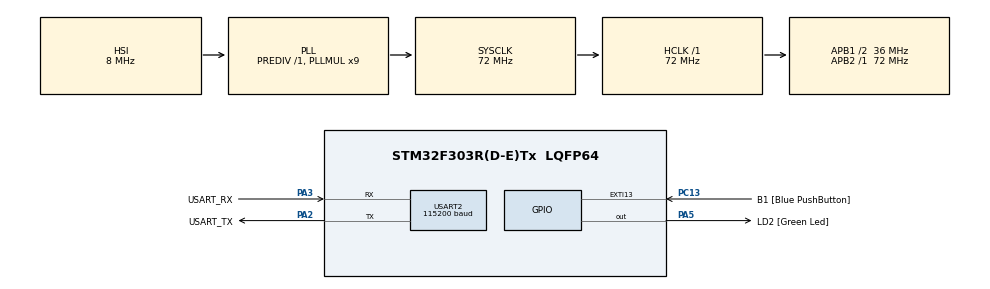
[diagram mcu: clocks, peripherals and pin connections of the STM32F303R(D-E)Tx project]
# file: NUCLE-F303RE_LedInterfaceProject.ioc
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Mcu.Family=STM32F3
Mcu.Name=STM32F303R(D-E)Tx
Mcu.Package=LQFP64
NVIC.PriorityGroup=NVIC_PRIORITYGROUP_0
PA13.GPIO_Label=TMS
PA13.Mode=Serial_Wire
PA13.Signal=SYS_JTMS-SWDIO
PA14.GPIO_Label=TCK
PA14.Mode=Serial_Wire
PA14.Signal=SYS_JTCK-SWCLK
PA2.GPIO_Label=USART_TX
PA2.GPIO_Mode=GPIO_MODE_AF_PP
PA2.GPIO_PuPd=GPIO_NOPULL
PA2.GPIO_Speed=GPIO_SPEED_FREQ_LOW
PA2.Mode=Asynchronous
PA2.Signal=USART2_TX
PA3.GPIO_Label=USART_RX
PA3.GPIO_Mode=GPIO_MODE_AF_PP
PA3.GPIO_PuPd=GPIO_NOPULL
PA3.GPIO_Speed=GPIO_SPEED_FREQ_LOW
PA3.Mode=Asynchronous
PA3.Signal=USART2_RX
PA5.GPIO_Label=LD2 [Green Led]
PA5.GPIO_Mode=GPIO_MODE_OUTPUT_PP
PA5.GPIO_PuPd=GPIO_NOPULL
PA5.GPIO_Speed=GPIO_SPEED_FREQ_LOW
PA5.Signal=GPIO_Output
PB3.GPIO_Label=SWO
PB3.Signal=SYS_JTDO-TRACESWO
PC13.GPIO_Label=B1 [Blue PushButton]
PC13.GPIO_ModeDefaultEXTI=GPIO_MODE_IT_FALLING
PC13.Signal=GPXTI13
PC14-OSC32_IN.Mode=LSE-External-Oscillator
PC14-OSC32_IN.Signal=RCC_OSC32_IN
PC15-OSC32_OUT.Mode=LSE-External-Oscillator
PC15-OSC32_OUT.Signal=RCC_OSC32_OUT
PF0-OSC_IN.Mode=HSE-External-Clock-Source
PF0-OSC_IN.Signal=RCC_OSC_IN
PF1-OSC_OUT.Signal=RCC_OSC_OUT
ProjectManager.HeapSize=0x200
ProjectManager.StackSize=0x400
ProjectManager.TargetToolchain=CMake
RCC.AHBFreq_Value=72000000
RCC.APB1CLKDivider=RCC_HCLK_DIV2
RCC.APB1Freq_Value=36000000
RCC.APB1TimFreq_Value=72000000
RCC.APB2Freq_Value=72000000
RCC.APB2TimFreq_Value=72000000
RCC.CortexFreq_Value=72000000
RCC.HCLKFreq_Value=72000000
RCC.HSE_VALUE=8000000
RCC.HSI_VALUE=8000000
RCC.PLLM=8
RCC.PLLMUL=RCC_PLL_MUL9
RCC.PLLN=336
RCC.PLLP=RCC_PLLP_DIV4
RCC.PLLQ=7
RCC.RCC_PLLsource_Clock_Source_FROM_HSE=RCC_HSE_PREDIV_DIV2
RCC.SYSCLKFreq_VALUE=72000000
RCC.SYSCLKSourceVirtual=RCC_SYSCLKSOURCE_PLLCLK
RCC.USBFreq_Value=72000000
USART2.BaudRate=115200
USART2.VirtualMode-Asynchronous=VM_ASYNC
board=NUCLEO-F303RE

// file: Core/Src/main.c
/* USER CODE BEGIN Header */
/**
  ******************************************************************************
  * @file           : main.c
  * @brief          : Main program body
  ******************************************************************************
  * @attention
  *
  * Copyright (c) 2026 STMicroelectronics.
  * All rights reserved.
  *
  * This software is licensed under terms that can be found in the LICENSE file
  * in the root directory of this software component.
  * If no LICENSE file comes with this software, it is provided AS-IS.
  *
  ******************************************************************************
  */
/* USER CODE END Header */
#include "main.h"
#include "stm32f303xe.h"
#include "stm32f3xx_hal.h"
#include "stm32f3xx_hal_def.h"
#include "stm32f3xx_hal_gpio.h"
#include "stm32f3xx_hal_uart.h"
#include <stdio.h>

/* USER CODE BEGIN Includes */
#include <stdio.h>
#include <stdlib.h>
#include <string.h>
/* USER CODE END Includes */

UART_HandleTypeDef huart2;

/* USER CODE BEGIN PV */
uint8_t userInput = 0;
uint8_t buffer[1];
char tx_data[50];
//uint8_t msg[50];
/* USER CODE END PV */

void SystemClock_Config(void);
static void MX_GPIO_Init(void);
static void MX_USART2_UART_Init(void);
/* USER CODE BEGIN PFP */
char readUserInput(void);
uint8_t processUserInput(char userInput);
/* USER CODE END PFP */

int main(void)
{

  /* MCU Configuration--------------------------------------------------------*/

  /* Reset of all peripherals, Initializes the Flash interface and the Systick. */
  HAL_Init();

  /* Configure the system clock */
  SystemClock_Config();

  /* Initialize all configured peripherals */
  MX_GPIO_Init();
  MX_USART2_UART_Init();

  /* Infinite loop */
  /* USER CODE BEGIN WHILE */
  while (1)
  {
	  userInput = readUserInput();
	  processUserInput(userInput);
	  HAL_Delay(1);

    /* USER CODE END WHILE */

  }
}

void SystemClock_Config(void)
{
  RCC_OscInitTypeDef RCC_OscInitStruct = {0};
  RCC_ClkInitTypeDef RCC_ClkInitStruct = {0};
  RCC_PeriphCLKInitTypeDef PeriphClkInit = {0};

  /** Initializes the RCC Oscillators according to the specified parameters
  * in the RCC_OscInitTypeDef structure.
  */
  RCC_OscInitStruct.OscillatorType = RCC_OSCILLATORTYPE_HSI;
  RCC_OscInitStruct.HSIState = RCC_HSI_ON;
  RCC_OscInitStruct.HSICalibrationValue = RCC_HSICALIBRATION_DEFAULT;
  RCC_OscInitStruct.PLL.PLLState = RCC_PLL_ON;
  RCC_OscInitStruct.PLL.PLLSource = RCC_PLLSOURCE_HSI;
  RCC_OscInitStruct.PLL.PLLMUL = RCC_PLL_MUL9;
  RCC_OscInitStruct.PLL.PREDIV = RCC_PREDIV_DIV1;
  if (HAL_RCC_OscConfig(&RCC_OscInitStruct) != HAL_OK)
  {
    Error_Handler();
  }

  /** Initializes the CPU, AHB and APB buses clocks
  */
  RCC_ClkInitStruct.ClockType = RCC_CLOCKTYPE_HCLK|RCC_CLOCKTYPE_SYSCLK
                              |RCC_CLOCKTYPE_PCLK1|RCC_CLOCKTYPE_PCLK2;
  RCC_ClkInitStruct.SYSCLKSource = RCC_SYSCLKSOURCE_PLLCLK;
  RCC_ClkInitStruct.AHBCLKDivider = RCC_SYSCLK_DIV1;
  RCC_ClkInitStruct.APB1CLKDivider = RCC_HCLK_DIV2;
  RCC_ClkInitStruct.APB2CLKDivider = RCC_HCLK_DIV1;

  if (HAL_RCC_ClockConfig(&RCC_ClkInitStruct, FLASH_LATENCY_2) != HAL_OK)
  {
    Error_Handler();
  }
  PeriphClkInit.PeriphClockSelection = RCC_PERIPHCLK_USART2;
  PeriphClkInit.Usart2ClockSelection = RCC_USART2CLKSOURCE_PCLK1;
  if (HAL_RCCEx_PeriphCLKConfig(&PeriphClkInit) != HAL_OK)
  {
    Error_Handler();
  }
}

static void MX_USART2_UART_Init(void)
{

  huart2.Instance = USART2;
  huart2.Init.BaudRate = 115200;
  huart2.Init.WordLength = UART_WORDLENGTH_8B;
  huart2.Init.StopBits = UART_STOPBITS_1;
  huart2.Init.Parity = UART_PARITY_NONE;
  huart2.Init.Mode = UART_MODE_TX_RX;
  huart2.Init.HwFlowCtl = UART_HWCONTROL_NONE;
  huart2.Init.OverSampling = UART_OVERSAMPLING_16;
  huart2.Init.OneBitSampling = UART_ONE_BIT_SAMPLE_DISABLE;
  huart2.AdvancedInit.AdvFeatureInit = UART_ADVFEATURE_NO_INIT;
  if (HAL_UART_Init(&huart2) != HAL_OK)
  {
    Error_Handler();
  }

}

static void MX_GPIO_Init(void)
{
  GPIO_InitTypeDef GPIO_InitStruct = {0};

  /* GPIO Ports Clock Enable */
  __HAL_RCC_GPIOC_CLK_ENABLE();
  __HAL_RCC_GPIOF_CLK_ENABLE();
  __HAL_RCC_GPIOA_CLK_ENABLE();
  __HAL_RCC_GPIOB_CLK_ENABLE();

  /*Configure GPIO pin Output Level */
  HAL_GPIO_WritePin(LD2_GPIO_Port, LD2_Pin, GPIO_PIN_RESET);

  /*Configure GPIO pin : B1_Pin */
  GPIO_InitStruct.Pin = B1_Pin;
  GPIO_InitStruct.Mode = GPIO_MODE_IT_FALLING;
  GPIO_InitStruct.Pull = GPIO_NOPULL;
  HAL_GPIO_Init(B1_GPIO_Port, &GPIO_InitStruct);

  /*Configure GPIO pin : LD2_Pin */
  GPIO_InitStruct.Pin = LD2_Pin;
  GPIO_InitStruct.Mode = GPIO_MODE_OUTPUT_PP;
  GPIO_InitStruct.Pull = GPIO_NOPULL;
  GPIO_InitStruct.Speed = GPIO_SPEED_FREQ_LOW;
  HAL_GPIO_Init(LD2_GPIO_Port, &GPIO_InitStruct);

}

/* USER CODE BEGIN 4 */
char readUserInput(void)
{
	char readBuf[1];

	HAL_UART_Receive(&huart2, (uint8_t *)readBuf, 1, 100);
	//uint8_t result = atoi(readBuf);
	//sprintf(result_arr, "Result = %d\r\n", result);
	//HAL_UART_Transmit(&huart2, (uint8_t *)result_arr, strlen(result_arr), 100);
	return readBuf[0];
}

uint8_t processUserInput(char userInput)
{
	//sprintf(msg, "%d", userInput);

	switch(userInput)
	{
	case '0':
		HAL_GPIO_WritePin(LD2_GPIO_Port, LD2_Pin, GPIO_PIN_RESET);
		sprintf(tx_data, "LED Apagado\r\n");
		HAL_UART_Transmit(&huart2, (uint8_t *)tx_data, strlen(tx_data), 100);
		break;
	case '1':
		HAL_GPIO_WritePin(LD2_GPIO_Port, LD2_Pin, GPIO_PIN_SET);
		sprintf(tx_data, "LED Encendido\r\n");
		HAL_UART_Transmit(&huart2, (uint8_t *)tx_data, strlen(tx_data), 100);
		break;
	case '?':
		if ((GPIOA->ODR & GPIO_PIN_5) != 0){
			sprintf(tx_data, "LED Encendido\r\n");
			HAL_UART_Transmit(&huart2, (uint8_t *)tx_data, strlen(tx_data), 100);
		}else {
			sprintf(tx_data, "LED Apagado\r\n");
			HAL_UART_Transmit(&huart2, (uint8_t *)tx_data, strlen(tx_data), 100);
		}
	}

	return 1;
}
/* USER CODE END 4 */

void Error_Handler(void)
{
  __disable_irq();
  while (1)
  {
  }
}
